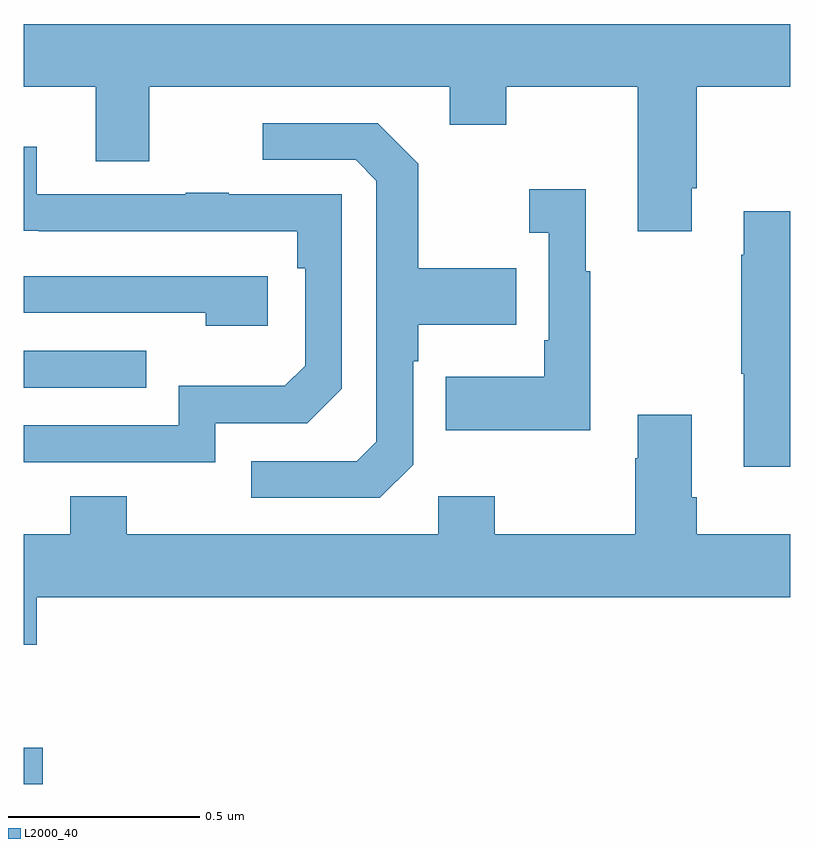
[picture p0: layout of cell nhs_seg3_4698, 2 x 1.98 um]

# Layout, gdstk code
import gdstk
lib = gdstk.Library(unit=1e-6, precision=1e-09)
def R(c, l, rs):  # rectangles x0, y0, x1, y1
    for r in rs: c.add(gdstk.rectangle(r[:2], r[2:], *l))
def P(c, l, *ps):  # polygons
    for p in ps: c.add(gdstk.Polygon(p, *l))
L2000_40 = (2000, 40)

nhs_seg3_4698 = lib.new_cell('nhs_seg3_4698')
R(nhs_seg3_4698, L2000_40, [(169,728.4,169.049,728.494), (169,729.435,169.319,729.531)])
P(nhs_seg3_4698, L2000_40, [(169,730.22),(169.187,730.22),(169.187,730.026),(169.327,730.026),(169.327,730.22),(170.111,730.22),(170.111,730.121),(170.259,730.121),(170.259,730.22),(170.603,730.22),(170.603,729.843),(170.743,729.843),(170.743,729.955),(170.756,729.955),(170.756,730.22),(171,730.22),(171,730.384),(169,730.384)],
  [(170.016,729.234),(170.016,729.503),(170.029,729.503),(170.029,729.599),(170.285,729.599),(170.285,729.747),(170.029,729.747),(170.029,730.019),(169.923,730.125),(169.623,730.125),(169.623,730.029),(169.866,730.029),(169.92,729.975),(169.92,729.294),(169.869,729.243),(169.593,729.243),(169.593,729.147),(169.929,729.147)],
  [(169.5,729.342),(169.74,729.342),(169.83,729.432),(169.83,729.939),(169.535,729.939),(169.535,729.944),(169.423,729.944),(169.423,729.939),(169.033,729.939),(169.033,730.063),(169,730.063),(169,729.844),(169.039,729.844),(169.039,729.843),(169.714,729.843),(169.714,729.746),(169.734,729.746),(169.734,729.492),(169.681,729.439),(169.404,729.439),(169.404,729.336),(169,729.336),(169,729.24),(169.5,729.24)],
  [(170.479,729.739),(170.467,729.739),(170.467,729.952),(170.319,729.952),(170.319,729.839),(170.37,729.839),(170.37,729.559),(170.358,729.559),(170.358,729.463),(170.101,729.463),(170.101,729.323),(170.479,729.323)],
  [(171,729.895),(170.879,729.895),(170.879,729.782),(170.872,729.782),(170.872,729.471),(170.879,729.471),(170.879,729.228),(171,729.228)],
  [(169.636,729.726),(169,729.726),(169,729.63),(169.475,729.63),(169.475,729.596),(169.636,729.596)],
  [(169.034,728.888),(171,728.888),(171,729.052),(170.756,729.052),(170.756,729.148),(170.743,729.148),(170.743,729.364),(170.603,729.364),(170.603,729.251),(170.596,729.251),(170.596,729.052),(170.229,729.052),(170.229,729.151),(170.082,729.151),(170.082,729.052),(169.269,729.052),(169.269,729.151),(169.121,729.151),(169.121,729.052),(169,729.052),(169,728.764),(169.034,728.764)])

lib.write_gds('nhs_seg3_4698.gds')
